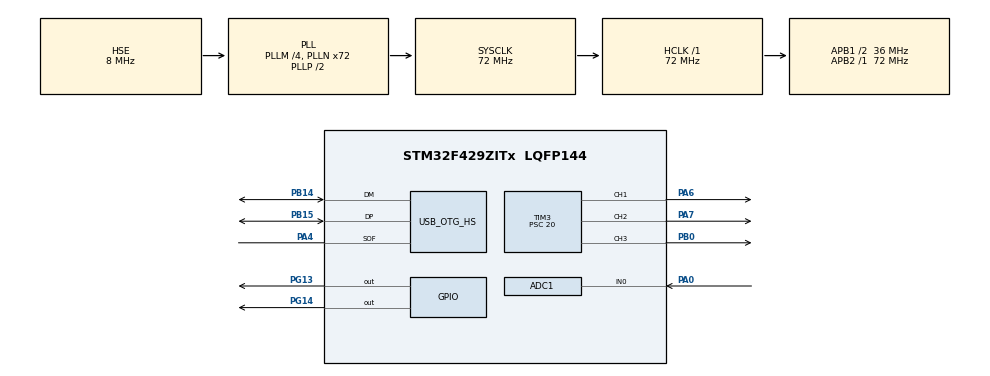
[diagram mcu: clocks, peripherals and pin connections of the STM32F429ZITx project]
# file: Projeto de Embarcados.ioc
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ADC1.Channel-0\#ChannelRegularConversion=ADC_CHANNEL_0
ADC1.ClockPrescaler=ADC_CLOCK_SYNC_PCLK_DIV4
ADC1.ExternalTrigConv=ADC_EXTERNALTRIGCONV_T2_TRGO
ADC1.NbrOfConversionFlag=1
ADC1.Rank-0\#ChannelRegularConversion=1
ADC1.SamplingTime-0\#ChannelRegularConversion=ADC_SAMPLETIME_3CYCLES
ADC1.master=1
Dma.ADC1.0.Direction=DMA_PERIPH_TO_MEMORY
Dma.ADC1.0.FIFOMode=DMA_FIFOMODE_DISABLE
Dma.ADC1.0.Instance=DMA2_Stream0
Dma.ADC1.0.MemDataAlignment=DMA_MDATAALIGN_HALFWORD
Dma.ADC1.0.MemInc=DMA_MINC_ENABLE
Dma.ADC1.0.Mode=DMA_CIRCULAR
Dma.ADC1.0.PeriphDataAlignment=DMA_PDATAALIGN_HALFWORD
Dma.ADC1.0.PeriphInc=DMA_PINC_DISABLE
Dma.ADC1.0.Priority=DMA_PRIORITY_LOW
Dma.Request0=ADC1
FREERTOS.Tasks01=defaultTask,24,128,StartDefaultTask,Default,NULL,Dynamic,NULL,NULL
FREERTOS.configENABLE_FPU=1
FREERTOS.configTOTAL_HEAP_SIZE=32768
FREERTOS.configUSE_NEWLIB_REENTRANT=1
Mcu.Family=STM32F4
Mcu.Name=STM32F429ZITx
Mcu.Package=LQFP144
NVIC.DMA2_Stream0_IRQn=true\:5\:0\:false\:false\:true\:true\:false\:true\:true
NVIC.OTG_HS_IRQn=true\:5\:0\:false\:false\:true\:true\:true\:true\:true
NVIC.PriorityGroup=NVIC_PRIORITYGROUP_4
PA0/WKUP.Signal=ADCx_IN0
PA13.Mode=Serial_Wire
PA13.Signal=SYS_JTMS-SWDIO
PA14.Mode=Serial_Wire
PA14.Signal=SYS_JTCK-SWCLK
PA4.Mode=Activate_SOF_FS
PA4.Signal=USB_OTG_HS_SOF
PA6.Signal=S_TIM3_CH1
PA7.Signal=S_TIM3_CH2
PB0.Signal=S_TIM3_CH3
PB14.Mode=Device_Only_FS
PB14.Signal=USB_OTG_HS_DM
PB15.Mode=Device_Only_FS
PB15.Signal=USB_OTG_HS_DP
PG13.Signal=GPIO_Output
PG14.Signal=GPIO_Output
PH0/OSC_IN.Mode=HSE-External-Oscillator
PH0/OSC_IN.Signal=RCC_OSC_IN
PH1/OSC_OUT.Mode=HSE-External-Oscillator
PH1/OSC_OUT.Signal=RCC_OSC_OUT
ProjectManager.HeapSize=0x200
ProjectManager.StackSize=0x400
ProjectManager.TargetToolchain=STM32CubeIDE
RCC.48MHZClocksFreq_Value=48000000
RCC.AHBFreq_Value=72000000
RCC.APB1CLKDivider=RCC_HCLK_DIV2
RCC.APB1Freq_Value=36000000
RCC.APB1TimFreq_Value=72000000
RCC.APB2Freq_Value=72000000
RCC.APB2TimFreq_Value=72000000
RCC.CortexFreq_Value=72000000
RCC.HCLKFreq_Value=72000000
RCC.HSE_VALUE=8000000
RCC.HSI_VALUE=16000000
RCC.LSE_VALUE=32768
RCC.PLLM=4
RCC.PLLN=72
RCC.PLLQ=3
RCC.SYSCLKFreq_VALUE=72000000
RCC.SYSCLKSource=RCC_SYSCLKSOURCE_PLLCLK
RCC.VCOOutputFreq_Value=144000000
SH.ADCx_IN0.0=ADC1_IN0,IN0
SH.S_TIM3_CH1.0=TIM3_CH1,PWM Generation1 CH1
SH.S_TIM3_CH2.0=TIM3_CH2,PWM Generation2 CH2
SH.S_TIM3_CH3.0=TIM3_CH3,PWM Generation3 CH3
TIM2.AutoReloadPreload=TIM_AUTORELOAD_PRELOAD_ENABLE
TIM2.Period=949
TIM2.TIM_MasterOutputTrigger=TIM_TRGO_UPDATE
TIM2.TIM_MasterSlaveMode=TIM_MASTERSLAVEMODE_ENABLE
TIM3.AutoReloadPreload=TIM_AUTORELOAD_PRELOAD_ENABLE
TIM3.Channel-PWM\ Generation1\ CH1=TIM_CHANNEL_1
TIM3.Channel-PWM\ Generation2\ CH2=TIM_CHANNEL_2
TIM3.Channel-PWM\ Generation3\ CH3=TIM_CHANNEL_3
TIM3.ClockDivision=TIM_CLOCKDIVISION_DIV4
TIM3.Prescaler=20
TIM3.Pulse-PWM\ Generation1\ CH1=50000
TIM3.Pulse-PWM\ Generation2\ CH2=32700
TIM3.Pulse-PWM\ Generation3\ CH3=20000
USB_DEVICE.CLASS_NAME_HS=CDC
USB_DEVICE.VirtualMode-CDC_HS=Cdc
USB_DEVICE.VirtualModeHS=Cdc_HS
USB_OTG_HS.VirtualMode-Device_Only_FS=Device_Only_FS
VP_FREERTOS_VS_CMSIS_V2.Mode=CMSIS_V2
VP_TIM2_VS_ClockSourceINT.Mode=Internal
VP_TIM3_VS_ClockSourceINT.Mode=Internal
VP_USB_DEVICE_VS_USB_DEVICE_CDC_HS.Mode=CDC_HS
board=custom

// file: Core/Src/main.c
/* USER CODE BEGIN Header */
/**
  ******************************************************************************
  * @file           : main.c
  * @brief          : Main program body
  ******************************************************************************
  * @attention
  *
  * Copyright (c) 2022 STMicroelectronics.
  * All rights reserved.
  *
  * This software is licensed under terms that can be found in the LICENSE file
  * in the root directory of this software component.
  * If no LICENSE file comes with this software, it is provided AS-IS.
  *
  ******************************************************************************
  */
/* USER CODE END Header */
#include "main.h"
#include "cmsis_os.h"
#include "usb_device.h"

/* USER CODE BEGIN Includes */
#include "FreeRTOS.h"
#include "FreeRTOS_CLI.h"
#include "usbd_cdc_if.h"
#include "arm_const_structs.h"
#include "arm_common_tables.h"
#include "arm_math.h"
#include "stdio.h"

/* USER CODE END Includes */

/* USER CODE BEGIN PD */
#define MAX_INPUT_LENGTH    256
#define MAX_OUTPUT_LENGTH   256
/* USER CODE END PD */

ADC_HandleTypeDef hadc1;
DMA_HandleTypeDef hdma_adc1;

TIM_HandleTypeDef htim2;
TIM_HandleTypeDef htim3;

/* Definitions for defaultTask */
osThreadId_t defaultTaskHandle;
const osThreadAttr_t defaultTask_attributes = {
  .name = "defaultTask",
  .stack_size = 128 * 4,
  .priority = (osPriority_t) osPriorityNormal,
};

void SystemClock_Config(void);
static void MX_GPIO_Init(void);
static void MX_DMA_Init(void);
static void MX_ADC1_Init(void);
static void MX_TIM2_Init(void);
static void MX_TIM3_Init(void);
void StartDefaultTask(void *argument);

/* USER CODE BEGIN 0 */
uint32_t is_usb_on(void);
uint8_t adcBuffer[256];
float ReIm[256*2];
float mod[256];

typedef struct led_t_ {
	GPIO_TypeDef* port;
	uint16_t pin;
	int timeout;
}led_t;

led_t green_led;
led_t red_led;

void task_led(void *param)
{
	led_t *led = (led_t *)param;
	while(1)
	{
		HAL_GPIO_TogglePin(led->port, led->pin);
		vTaskDelay(led->timeout);
	}
}

void task_adc(void *param){
	HAL_ADC_Start_DMA(&hadc1, (uint32_t *)adcBuffer, 256);
	HAL_TIM_Base_Start(&htim2);
	while(1){
		int k = 0;
		for(int i = 0; i < 256; i++){
			ReIm[k] = (float) adcBuffer[i] * 0.0007326007;
			ReIm[k+1] = 0.0;
			k += 2;
		}

		arm_cfft_f32(&arm_cfft_sR_f32_len256,ReIm,0,1);
		arm_cmplx_mag_f32(ReIm,mod,256);
		arm_scale_f32(mod, 0.0078125, mod, 128); /* vertor, por quem quero multiplicar, vetor final, quantos pontos */

		volatile float fund_phase = atan2f(ReIm[3],ReIm[2])*180/M_PI;
		(void)fund_phase;
		vTaskDelay(5);
	}
}

/* USER CODE END 0 */

int main(void)
{

  /* MCU Configuration--------------------------------------------------------*/

  /* Reset of all peripherals, Initializes the Flash interface and the Systick. */
  HAL_Init();

  /* Configure the system clock */
  SystemClock_Config();

  /* Initialize all configured peripherals */
  MX_GPIO_Init();
  MX_DMA_Init();
  MX_ADC1_Init();
  MX_TIM2_Init();
  MX_TIM3_Init();
  /* USER CODE BEGIN 2 */
  HAL_TIM_PWM_Start(&htim3, TIM_CHANNEL_1);
  HAL_TIM_PWM_Start(&htim3, TIM_CHANNEL_2);
  HAL_TIM_PWM_Start(&htim3, TIM_CHANNEL_3);
  /* USER CODE END 2 */

  /* Init scheduler */
  osKernelInitialize();
/* USER CODE BEGIN Header */
/**
  ******************************************************************************
  * @file           : main.c
  * @brief          : Main program body
  ******************************************************************************
  * @attention
  *
  * Copyright (c) 2022 STMicroelectronics.
  * All rights reserved.
  *
  * This software is licensed under terms that can be found in the LICENSE file
  * in the root directory of this software component.
  * If no LICENSE file comes with this software, it is provided AS-IS.
  *
  ******************************************************************************
  */
/* USER CODE END Header */

  /* Start scheduler */
  osKernelStart();

  /* We should never get here as control is now taken by the scheduler */
  /* Infinite loop */
  while (1)
  {

    /* USER CODE BEGIN 3 */
  }
  defaultTaskHandle = osThreadNew(StartDefaultTask, NULL, &defaultTask_attributes);

  green_led.timeout = 500;
  green_led.port = GPIOG;
  green_led.pin = GPIO_PIN_13;

  red_led.timeout = 250;
  red_led.port = GPIOG;
  red_led.pin = GPIO_PIN_14;

  xTaskCreate(task_led, "Tarefa LED VERDE", 256, &green_led, 1, NULL);
  xTaskCreate(task_led, "Tarefa LED VERMELHO", 256, &red_led, 2, NULL);
  xTaskCreate(task_adc, "Tarefa ADC", 256, NULL, 5, NULL);
  /* USER CODE END 3 */
}

void SystemClock_Config(void)
{
  RCC_OscInitTypeDef RCC_OscInitStruct = {0};
  RCC_ClkInitTypeDef RCC_ClkInitStruct = {0};

  /** Configure the main internal regulator output voltage
  */
  __HAL_RCC_PWR_CLK_ENABLE();
  __HAL_PWR_VOLTAGESCALING_CONFIG(PWR_REGULATOR_VOLTAGE_SCALE3);

  /** Initializes the RCC Oscillators according to the specified parameters
  * in the RCC_OscInitTypeDef structure.
  */
  RCC_OscInitStruct.OscillatorType = RCC_OSCILLATORTYPE_HSE;
  RCC_OscInitStruct.HSEState = RCC_HSE_ON;
  RCC_OscInitStruct.PLL.PLLState = RCC_PLL_ON;
  RCC_OscInitStruct.PLL.PLLSource = RCC_PLLSOURCE_HSE;
  RCC_OscInitStruct.PLL.PLLM = 4;
  RCC_OscInitStruct.PLL.PLLN = 72;
  RCC_OscInitStruct.PLL.PLLP = RCC_PLLP_DIV2;
  RCC_OscInitStruct.PLL.PLLQ = 3;

  if (HAL_RCC_OscConfig(&RCC_OscInitStruct) != HAL_OK)
  {
    Error_Handler();
  }

  /** Initializes the CPU, AHB and APB buses clocks
  */
  RCC_ClkInitStruct.ClockType = RCC_CLOCKTYPE_HCLK|RCC_CLOCKTYPE_SYSCLK
                              |RCC_CLOCKTYPE_PCLK1|RCC_CLOCKTYPE_PCLK2;
  RCC_ClkInitStruct.SYSCLKSource = RCC_SYSCLKSOURCE_PLLCLK;
  RCC_ClkInitStruct.AHBCLKDivider = RCC_SYSCLK_DIV1;
  RCC_ClkInitStruct.APB1CLKDivider = RCC_HCLK_DIV2;
  RCC_ClkInitStruct.APB2CLKDivider = RCC_HCLK_DIV1;

  if (HAL_RCC_ClockConfig(&RCC_ClkInitStruct, FLASH_LATENCY_2) != HAL_OK)
  {
    Error_Handler();
  }
}

static void MX_ADC1_Init(void)
{

  ADC_ChannelConfTypeDef sConfig = {0};

  /** Configure the global features of the ADC (Clock, Resolution, Data Alignment and number of conversion)
  */
  hadc1.Instance = ADC1;
  hadc1.Init.ClockPrescaler = ADC_CLOCK_SYNC_PCLK_DIV4;
  hadc1.Init.Resolution = ADC_RESOLUTION_12B;
  hadc1.Init.ScanConvMode = DISABLE;
  hadc1.Init.ContinuousConvMode = DISABLE;
  hadc1.Init.DiscontinuousConvMode = DISABLE;
  hadc1.Init.ExternalTrigConvEdge = ADC_EXTERNALTRIGCONVEDGE_RISING;
  hadc1.Init.ExternalTrigConv = ADC_EXTERNALTRIGCONV_T2_TRGO;
  hadc1.Init.DataAlign = ADC_DATAALIGN_RIGHT;
  hadc1.Init.NbrOfConversion = 1;
  hadc1.Init.DMAContinuousRequests = DISABLE;
  hadc1.Init.EOCSelection = ADC_EOC_SINGLE_CONV;
  if (HAL_ADC_Init(&hadc1) != HAL_OK)
  {
    Error_Handler();
  }

  /** Configure for the selected ADC regular channel its corresponding rank in the sequencer and its sample time.
  */
  sConfig.Channel = ADC_CHANNEL_0;
  sConfig.Rank = 1;
  sConfig.SamplingTime = ADC_SAMPLETIME_3CYCLES;
  if (HAL_ADC_ConfigChannel(&hadc1, &sConfig) != HAL_OK)
  {
    Error_Handler();
  }

}

static void MX_TIM2_Init(void)
{

  TIM_ClockConfigTypeDef sClockSourceConfig = {0};
  TIM_MasterConfigTypeDef sMasterConfig = {0};

  htim2.Instance = TIM2;
  htim2.Init.Prescaler = 0;
  htim2.Init.CounterMode = TIM_COUNTERMODE_UP;
  htim2.Init.Period = 949;
  htim2.Init.ClockDivision = TIM_CLOCKDIVISION_DIV1;
  htim2.Init.AutoReloadPreload = TIM_AUTORELOAD_PRELOAD_ENABLE;
  if (HAL_TIM_Base_Init(&htim2) != HAL_OK)
  {
    Error_Handler();
  }
  sClockSourceConfig.ClockSource = TIM_CLOCKSOURCE_INTERNAL;
  if (HAL_TIM_ConfigClockSource(&htim2, &sClockSourceConfig) != HAL_OK)
  {
    Error_Handler();
  }
  sMasterConfig.MasterOutputTrigger = TIM_TRGO_UPDATE;
  sMasterConfig.MasterSlaveMode = TIM_MASTERSLAVEMODE_ENABLE;
  if (HAL_TIMEx_MasterConfigSynchronization(&htim2, &sMasterConfig) != HAL_OK)
  {
    Error_Handler();
  }

}

static void MX_TIM3_Init(void)
{

  TIM_ClockConfigTypeDef sClockSourceConfig = {0};
  TIM_MasterConfigTypeDef sMasterConfig = {0};
  TIM_OC_InitTypeDef sConfigOC = {0};

  htim3.Instance = TIM3;
  htim3.Init.Prescaler = 20;
  htim3.Init.CounterMode = TIM_COUNTERMODE_UP;
  htim3.Init.Period = 65535;
  htim3.Init.ClockDivision = TIM_CLOCKDIVISION_DIV4;
  htim3.Init.AutoReloadPreload = TIM_AUTORELOAD_PRELOAD_ENABLE;
  if (HAL_TIM_Base_Init(&htim3) != HAL_OK)
  {
    Error_Handler();
  }
  sClockSourceConfig.ClockSource = TIM_CLOCKSOURCE_INTERNAL;
  if (HAL_TIM_ConfigClockSource(&htim3, &sClockSourceConfig) != HAL_OK)
  {
    Error_Handler();
  }
  if (HAL_TIM_PWM_Init(&htim3) != HAL_OK)
  {
    Error_Handler();
  }
  sMasterConfig.MasterOutputTrigger = TIM_TRGO_RESET;
  sMasterConfig.MasterSlaveMode = TIM_MASTERSLAVEMODE_DISABLE;
  if (HAL_TIMEx_MasterConfigSynchronization(&htim3, &sMasterConfig) != HAL_OK)
  {
    Error_Handler();
  }
  sConfigOC.OCMode = TIM_OCMODE_PWM1;
  sConfigOC.Pulse = 50000;
  sConfigOC.OCPolarity = TIM_OCPOLARITY_HIGH;
  sConfigOC.OCFastMode = TIM_OCFAST_DISABLE;
  if (HAL_TIM_PWM_ConfigChannel(&htim3, &sConfigOC, TIM_CHANNEL_1) != HAL_OK)
  {
    Error_Handler();
  }
  sConfigOC.Pulse = 32700;
  if (HAL_TIM_PWM_ConfigChannel(&htim3, &sConfigOC, TIM_CHANNEL_2) != HAL_OK)
  {
    Error_Handler();
  }
  sConfigOC.Pulse = 20000;
  if (HAL_TIM_PWM_ConfigChannel(&htim3, &sConfigOC, TIM_CHANNEL_3) != HAL_OK)
  {
    Error_Handler();
  }
  HAL_TIM_MspPostInit(&htim3);

}

static void MX_DMA_Init(void)
{

  /* DMA controller clock enable */
  __HAL_RCC_DMA2_CLK_ENABLE();

  /* DMA interrupt init */
  /* DMA2_Stream0_IRQn interrupt configuration */
  HAL_NVIC_SetPriority(DMA2_Stream0_IRQn, 5, 0);
  HAL_NVIC_EnableIRQ(DMA2_Stream0_IRQn);

}

static void MX_GPIO_Init(void)
{
  GPIO_InitTypeDef GPIO_InitStruct = {0};

  /* GPIO Ports Clock Enable */
  __HAL_RCC_GPIOH_CLK_ENABLE();
  __HAL_RCC_GPIOA_CLK_ENABLE();
  __HAL_RCC_GPIOB_CLK_ENABLE();
  __HAL_RCC_GPIOG_CLK_ENABLE();

  /*Configure GPIO pin Output Level */
  HAL_GPIO_WritePin(GPIOG, GPIO_PIN_13|GPIO_PIN_14, GPIO_PIN_RESET);

  /*Configure GPIO pins : PG13 PG14 */
  GPIO_InitStruct.Pin = GPIO_PIN_13|GPIO_PIN_14;
  GPIO_InitStruct.Mode = GPIO_MODE_OUTPUT_PP;
  GPIO_InitStruct.Pull = GPIO_NOPULL;
  GPIO_InitStruct.Speed = GPIO_SPEED_FREQ_LOW;
  HAL_GPIO_Init(GPIOG, &GPIO_InitStruct);

}

/* USER CODE BEGIN 4 */
//uint8_t buffer[128];
uint32_t len;

uint8_t read_usb_cdc(char *buffer, int buf_len, TickType_t timeout);

static BaseType_t prvTaskStatsCommand( char *pcWriteBuffer, size_t xWriteBufferLen, const char *pcCommandString ){

        /* For simplicity, this function assumes the output buffer is large enough
        to hold all the text generated by executing the vTaskList() API function,
        so the xWriteBufferLen parameter is not used. */
        char *head = "Name\t\t\t\tState  Priority  Stack  Number\n\r";
        ( void ) xWriteBufferLen;

        /* pcWriteBuffer is used directly as the vTaskList() parameter, so the table
        generated by executing vTaskList() is written directly into the output
        buffer. */
        strcpy(pcWriteBuffer, head);
        vTaskList( pcWriteBuffer + strlen(head));

        /* The entire table was written directly to the output buffer.  Execution
        of this command is complete, so return pdFALSE. */
        return pdFALSE;
}
/*
static BaseType_t prvTaskStatsTexto( char *pcWriteBuffer, size_t xWriteBufferLen, const char *pcCommandString ){

	strcpy(pcWriteBuffer,(char*)"Este e um texto teste\r\n");
	return pdFALSE;
}*/

static BaseType_t prvTaskStatsHarmonica( char *pcWriteBuffer, size_t xWriteBufferLen, const char *pcCommandString ){
	const char *pcParameter1;
	const char *pcParameterAux;
	BaseType_t xParameter1StringLength;
	char comando1[5];
	char restorno[6];
	uint8_t valor1,valor2;
	comando1[0] = '\0';
	pcParameter1 = FreeRTOS_CLIGetParameter
	                        (
	                          /* The command string itself. */
	                          pcCommandString,
	                          /* Return the first parameter. */
	                          1,
	                          /* Store the parameter string length. */
	                          &xParameter1StringLength
	                        );

	strncpy(comando1,pcParameter1,xParameter1StringLength);
	comando1[xParameter1StringLength] = '\0';
	if(strcmp(comando1,(const char *)"cc") == (int)0){
		strcpy(pcWriteBuffer,(char*)"Este e o nivel CC do sinal: ");
		float auxf;
		auxf = (mod[0]*0.5);
		valor1 = (uint8_t) auxf;
		valor2 = (uint8_t) ((auxf-valor1)*10);
		restorno[0] = 48+valor1;
		restorno[1] = '.';
		restorno[2] = 48+valor2;
		valor2 = (uint8_t) ((((auxf-valor1)*10)-valor2)*10 );
		restorno[3] = 48+valor2;
		restorno[4] = '\0';
		strcpy(pcWriteBuffer + strlen(pcWriteBuffer),(char*)restorno);
	} else {
		uint8_t harm;
		harm = atoi(comando1);
		if(harm > 0 && harm < 255){
			uint8_t i, qnt;
			strcpy(pcWriteBuffer,(char*)"Este e a hamornica iniciada com ");
			strcpy(pcWriteBuffer + strlen(pcWriteBuffer),comando1);
			strcpy(pcWriteBuffer + strlen(pcWriteBuffer),(char*)": ");
			comando1[0] = '\0';
			pcParameterAux = FreeRTOS_CLIGetParameter
				                        (
				                          /* The command string itself. */
				                          pcCommandString,
				                          /* Return the first parameter. */
				                          2,
				                          /* Store the parameter string length. */
				                          &xParameter1StringLength
				                        );

			strncpy(comando1,pcParameterAux,xParameter1StringLength);
			comando1[xParameter1StringLength] = '\0';
			qnt = atoi(pcParameterAux);
			if(qnt > 0 && qnt < 128){
				float auxf;
				for(i = harm; i < (harm+qnt);i++){
					auxf = (mod[i]*0.5);
					valor1 = (uint8_t) auxf;
					valor2 = (uint8_t) ((auxf-valor1)*10);
					restorno[0] = 48+valor1;
					restorno[1] = '.';
					restorno[2] = 48+valor2;
					valor2 = (uint8_t) ((((auxf-valor1)*10)-valor2)*10 );
					restorno[3] = 48+valor2;
					if(i < (harm+qnt-1)){
						restorno[4] = ',';
						restorno[5] = ' ';
					} else {
						restorno[4] = '\0';
					}
					strcpy(pcWriteBuffer + strlen(pcWriteBuffer),(char*)restorno);
				}
			}
		}
	}
	return pdFALSE;
}

static const CLI_Command_Definition_t xTasksCommand =
{
    "tasks",
	"\r\ntasks:\r\n Lists all the installed tasks\r\n\r\n",
	prvTaskStatsCommand,
    0
};
/*
static const CLI_Command_Definition_t xTasksTexto =
{
    "texto",
	"\r\ntexto:\r\n Print Text Teste\r\n\r\n",
	prvTaskStatsTexto,
    0
};*/

static const CLI_Command_Definition_t xTasksHarmonica =
{
    "harmonica",
	"\r\nharmonica:\r\n fundamental, quantidade sequencial\r\n\r\n"
	"\r\nharmonica:\r\n cc, primeira fundamental \r\n\r\n",
	prvTaskStatsHarmonica,
    -1
};
/* USER CODE END 4 */

void StartDefaultTask(void *argument)
{
  /* init code for USB_DEVICE */
  MX_USB_DEVICE_Init();
  /* USER CODE BEGIN 5 */
  init_usb_rtos_obj();

  FreeRTOS_CLIRegisterCommand( &xTasksCommand );
  FreeRTOS_CLIRegisterCommand( &xTasksHarmonica );

  char data[128];
  /* Infinite loop */
  for(;;)
  {
	  queue_print(data,1);
  }
  /* USER CODE END 5 */
}

void Error_Handler(void)
{
  __disable_irq();
  while (1)
  {
  }
}
